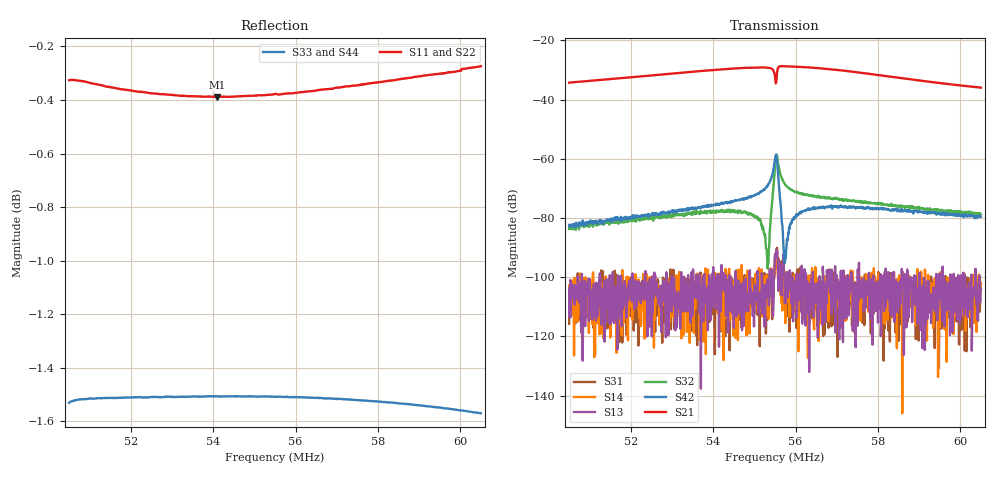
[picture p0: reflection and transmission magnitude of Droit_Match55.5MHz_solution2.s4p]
#  HZ  S  DB  R  50.00
! Rohde & Schwarz Vector Network Analyzer
! Rohde-Schwarz,ZNB8-4Port,1311601044102961,2.82
! Created: UTC 1/15/2019, 3:09:15 PM
! freq[Hz]  db:S11  ang:S11  db:S12  ang:S12  db:S13  ang:S13  db:S14  ang:S14
!  db:S21  ang:S21  db:S22  ang:S22  db:S23  ang:S23  db:S24  ang:S24
!  db:S31  ang:S31  db:S32  ang:S32  db:S33  ang:S33  db:S34  ang:S34
!  db:S41  ang:S41  db:S42  ang:S42  db:S43  ang:S43  db:S44  ang:S44
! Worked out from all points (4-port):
!   1001 points, 50.5 MHz to 60.5 MHz, reference 50 ohm
!   strongest paths, dB at 50.5 MHz, 53 MHz, 55.5 MHz, 58 MHz, 60.5 MHz:
!     S21: -34.3, -31.2, -32.2, -31.7, -36.0
!     S42: -82.6, -77.7, -60.3, -76.7, -79.6
!     S32: -83.7, -79.0, -62.8, -75.1, -78.8
!     S13: -103.8, -99.6, -92.4, -115.3, -104.0
!     S14: -102.8, -113.2, -99.1, -100.0, -101.9
!     S31: -115.8, -103.2, -92.8, -103.6, -102.2
!   lowest |S11| = -0.4 dB at 54.1 MHz (marker M1), VSWR 44.66, Z = 1.45 + j27 ohm
!   |S11| at or under -10 dB: nowhere
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5.05e7  -0.33 -159.6  -34.31 -126.7  -103.83 59.5  -102.80 -64.9
        -34.29 -126.7  -0.26 86.6  -83.29 -2.5  -82.50 -0.9
        -115.75 131.7  -83.67 -3.2  -1.53 82.2  -102.88 9.0
        -101.46 122.1  -82.64 2.7  -102.85 -118.6  -1.55 89.6
5.41e7  -0.39 123.3  -29.96 132.4  -99.01 83.5  -101.88 133.2
        -29.91 132.4  -0.22 -37.9  -77.62 -89.8  -75.18 -85.5
        -106.21 -84.5  -77.72 -90.9  -1.51 38.6  -104.33 -163.1
        -108.86 75.7  -75.39 -85.7  -103.97 -100.4  -1.52 45.5
5.535e7  -0.38 99.4  -29.34 84.4  -109.45 -129.0  -113.91 80.2
         -29.29 84.4  -0.45 -110.3  -92.41 13.1  -68.26 -133.2
         -103.77 128.7  -90.71 12.3  -1.51 23.3  -109.72 -105.0
         -101.75 29.4  -68.32 -132.8  -113.38 -151.9  -1.51 30.3
5.551e7  -0.38 96.5  -33.47 73.8  -92.46 138.6  -92.01 -16.6
         -33.40 73.7  -5.75 -160.6  -60.81 -16.4  -59.21 176.8
         -92.85 153.9  -60.95 -16.5  -1.51 21.3  -107.84 13.7
         -93.49 -19.1  -59.37 176.1  -107.63 113.1  -1.51 28.3
5.571e7  -0.38 92.8  -28.80 80.5  -97.83 74.5  -106.45 109.6
         -28.75 80.5  -0.46 -111.9  -67.99 -132.8  -89.52 89.3
         -96.45 56.2  -67.86 -133.5  -1.51 18.9  -103.21 -41.7
         -109.49 -27.6  -90.54 95.3  -106.98 -90.6  -1.51 25.9
5.675e7  -0.36 74.8  -29.69 37.9  -108.93 177.8  -102.91 -84.0
         -29.64 37.9  -0.37 -179.3  -73.14 -178.2  -76.19 -173.1
         -113.78 78.7  -73.08 -176.3  -1.51 6.0  -110.75 -63.9
         -111.05 -15.9  -76.42 -173.8  -108.55 -59.9  -1.50 13.2
6.05e7  -0.27 17.7  -36.04 -58.0  -104.02 -67.4  -101.87 -79.7
        -35.98 -57.8  -0.24 45.3  -78.16 96.0  -79.47 96.1
        -102.19 -109.5  -78.77 90.8  -1.57 -41.2  -102.84 -140.4
        -108.47 82.1  -79.61 96.4  -124.18 111.7  -1.52 -33.1
